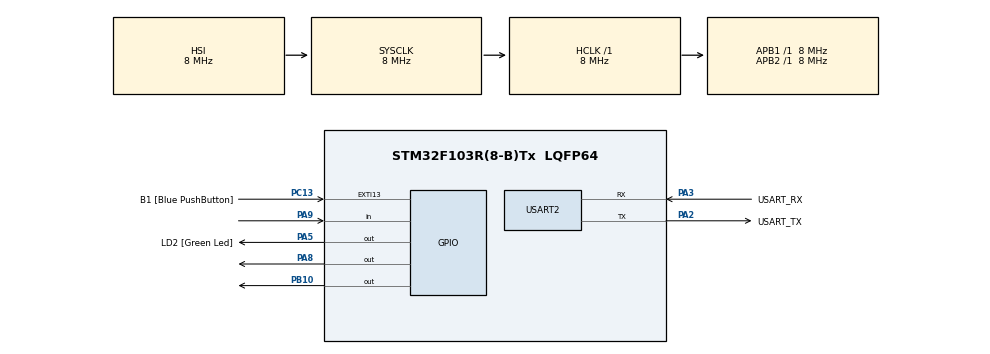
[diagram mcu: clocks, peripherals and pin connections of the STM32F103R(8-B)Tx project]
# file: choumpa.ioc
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Mcu.Family=STM32F1
Mcu.Name=STM32F103R(8-B)Tx
Mcu.Package=LQFP64
NVIC.EXTI15_10_IRQn=true\:0\:0\:false\:false\:true\:true\:true\:true
NVIC.PriorityGroup=NVIC_PRIORITYGROUP_4
NVIC.RCC_IRQn=true\:0\:0\:false\:false\:true\:true\:false\:true
PA13.GPIO_Label=TMS
PA13.Mode=Serial_Wire
PA13.Signal=SYS_JTMS-SWDIO
PA14.GPIO_Label=TCK
PA14.Mode=Serial_Wire
PA14.Signal=SYS_JTCK-SWCLK
PA2.GPIO_Label=USART_TX
PA2.GPIO_Mode=GPIO_MODE_AF_PP
PA2.GPIO_PuPd=GPIO_NOPULL
PA2.GPIO_Speed=GPIO_SPEED_FREQ_LOW
PA2.Mode=Asynchronous
PA2.Signal=USART2_TX
PA3.GPIO_Label=USART_RX
PA3.GPIO_Mode=GPIO_MODE_AF_PP
PA3.GPIO_PuPd=GPIO_NOPULL
PA3.GPIO_Speed=GPIO_SPEED_FREQ_LOW
PA3.Mode=Asynchronous
PA3.Signal=USART2_RX
PA5.GPIO_Label=LD2 [Green Led]
PA5.GPIO_ModeDefaultOutputPP=GPIO_MODE_OUTPUT_PP
PA5.GPIO_PuPd=GPIO_NOPULL
PA5.GPIO_Speed=GPIO_SPEED_FREQ_LOW
PA5.Signal=GPIO_Output
PA8.Signal=GPIO_Output
PA9.Signal=GPIO_Input
PB10.Signal=GPIO_Output
PC13-TAMPER-RTC.GPIO_Label=B1 [Blue PushButton]
PC13-TAMPER-RTC.GPIO_PuPd=GPIO_NOPULL
PC13-TAMPER-RTC.Signal=GPXTI13
PC14-OSC32_IN.Signal=RCC_OSC32_IN
PC15-OSC32_OUT.Signal=RCC_OSC32_OUT
PD0-OSC_IN.Signal=RCC_OSC_IN
PD1-OSC_OUT.Signal=RCC_OSC_OUT
ProjectManager.HeapSize=0x200
ProjectManager.StackSize=0x400
ProjectManager.TargetToolchain=STM32CubeIDE
RCC.AHBFreq_Value=8000000
RCC.APB1Freq_Value=8000000
RCC.APB1TimFreq_Value=8000000
RCC.APB2Freq_Value=8000000
RCC.APB2TimFreq_Value=8000000
RCC.HCLKFreq_Value=8000000
RCC.PLLMUL=RCC_PLL_MUL9
RCC.RTCClockSelection=RCC_RTCCLKSOURCE_LSE
RCC.SYSCLKFreq_VALUE=8000000
RCC.USBFreq_Value=36000000
USART2.VirtualMode=VM_ASYNC
board=NUCLEO-F103RB

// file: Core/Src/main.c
/* USER CODE BEGIN Header */
/**
  ******************************************************************************
  * @file           : main.c
  * @brief          : Main program body
  ******************************************************************************
  * @attention
  *
  * Copyright (c) 2024 STMicroelectronics.
  * All rights reserved.
  *
  * This software is licensed under terms that can be found in the LICENSE file
  * in the root directory of this software component.
  * If no LICENSE file comes with this software, it is provided AS-IS.
  *
  ******************************************************************************
  */
/* USER CODE END Header */
#include "main.h"
#include "usart.h"
#include "gpio.h"

/* USER CODE BEGIN Includes */
#include <stdio.h>
/* USER CODE END Includes */

void SystemClock_Config(void);
/* USER CODE BEGIN PFP */
#ifdef __GNUC__
#define PUTCHAR_PROTOTYPE int __io_putchar(int ch)
#else
#define PUTCHAR_PROTOTYPE int fputc(int ch, FILE *f)
#endif

PUTCHAR_PROTOTYPE
{
  HAL_UART_Transmit(&huart2, (uint8_t *)&ch, 1, HAL_MAX_DELAY);
  return ch;
}
/* USER CODE END PFP */

/* USER CODE BEGIN 0 */
/*
#define SYS_CLOCK    8
#define SYSTICK_LOAD 7999
uint32_t millis_cnt=1;

uint32_t micros(){
  return (millis_cnt&0x3FFFFF)*1000 + (SYSTICK_LOAD-SysTick->VAL)/SYS_CLOCK;
}
*/

// Tick을 설정하는 함수 1tick == (1 / 숫자)를 의미한다.
HAL_StatusTypeDef HAL_InitTick(uint32_t TickPriority) {
	  if (HAL_SYSTICK_Config(HAL_RCC_GetHCLKFreq() / 100000) == 0) {
		  printf("HAL_OK\r\n");
	    return HAL_OK;
	  } else {
		  printf("HAL_ERROR\r\n");
	    return HAL_ERROR;
	}
}

/* USER CODE END 0 */

int main(void)
{
  /* USER CODE BEGIN 1 */

	if (HAL_InitTick(TICK_INT_PRIORITY) != HAL_OK) {
	    Error_Handler();
	  }
  /* USER CODE END 1 */

  /* MCU Configuration--------------------------------------------------------*/

  /* Reset of all peripherals, Initializes the Flash interface and the Systick. */
  HAL_Init();

  /* Configure the system clock */
  SystemClock_Config();

  /* Initialize all configured peripherals */
  MX_GPIO_Init();
  MX_USART2_UART_Init();

  /* Infinite loop */
  /* USER CODE BEGIN WHILE */
  uint32_t st;
  uint32_t ed;
  uint32_t diff;
  uint32_t distance;

  while (1)
  {
    /* USER CODE END WHILE */

    /* USER CODE BEGIN 3 */

	  //HAL_GPIO_WritePin(GPIOA, GPIO_PIN_8, SET);
	  // HAL_GPIO_ReadPin(GPIOA, GPIO_PIN_9)==GPIO_PIN_SET

	  HAL_GPIO_WritePin(GPIOA, GPIO_PIN_8, RESET);
	  HAL_Delay(5);
	  HAL_GPIO_WritePin(GPIOA, GPIO_PIN_8, SET);
	  HAL_Delay(20);
	  HAL_GPIO_WritePin(GPIOA, GPIO_PIN_8, RESET);
	  //printf("right after : %lu\r\n", HAL_GPIO_ReadPin(GPIOA, GPIO_PIN_9));
	  st = HAL_GetTick();
	  while(HAL_GPIO_ReadPin(GPIOA, GPIO_PIN_9)==GPIO_PIN_RESET);
	  while(HAL_GPIO_ReadPin(GPIOA, GPIO_PIN_9)==GPIO_PIN_SET);
	  ed = HAL_GetTick();

	  diff = ed -st;
	  distance = diff * 0.034 / 2;
	  printf("%lu\r\n", diff);

	  //printf("%lu \r\n", micros());
	  HAL_Delay(100000);

  }
  /* USER CODE END 3 */
}

void SystemClock_Config(void)
{
  RCC_OscInitTypeDef RCC_OscInitStruct = {0};
  RCC_ClkInitTypeDef RCC_ClkInitStruct = {0};

  /** Initializes the RCC Oscillators according to the specified parameters
  * in the RCC_OscInitTypeDef structure.
  */
  RCC_OscInitStruct.OscillatorType = RCC_OSCILLATORTYPE_HSI;
  RCC_OscInitStruct.HSIState = RCC_HSI_ON;
  RCC_OscInitStruct.HSICalibrationValue = RCC_HSICALIBRATION_DEFAULT;
  RCC_OscInitStruct.PLL.PLLState = RCC_PLL_NONE;
  if (HAL_RCC_OscConfig(&RCC_OscInitStruct) != HAL_OK)
  {
    Error_Handler();
  }

  /** Initializes the CPU, AHB and APB buses clocks
  */
  RCC_ClkInitStruct.ClockType = RCC_CLOCKTYPE_HCLK|RCC_CLOCKTYPE_SYSCLK
                              |RCC_CLOCKTYPE_PCLK1|RCC_CLOCKTYPE_PCLK2;
  RCC_ClkInitStruct.SYSCLKSource = RCC_SYSCLKSOURCE_HSI;
  RCC_ClkInitStruct.AHBCLKDivider = RCC_SYSCLK_DIV1;
  RCC_ClkInitStruct.APB1CLKDivider = RCC_HCLK_DIV1;
  RCC_ClkInitStruct.APB2CLKDivider = RCC_HCLK_DIV1;

  if (HAL_RCC_ClockConfig(&RCC_ClkInitStruct, FLASH_LATENCY_0) != HAL_OK)
  {
    Error_Handler();
  }

}

void Error_Handler(void)
{
  __disable_irq();
  while (1)
  {
  }
}
